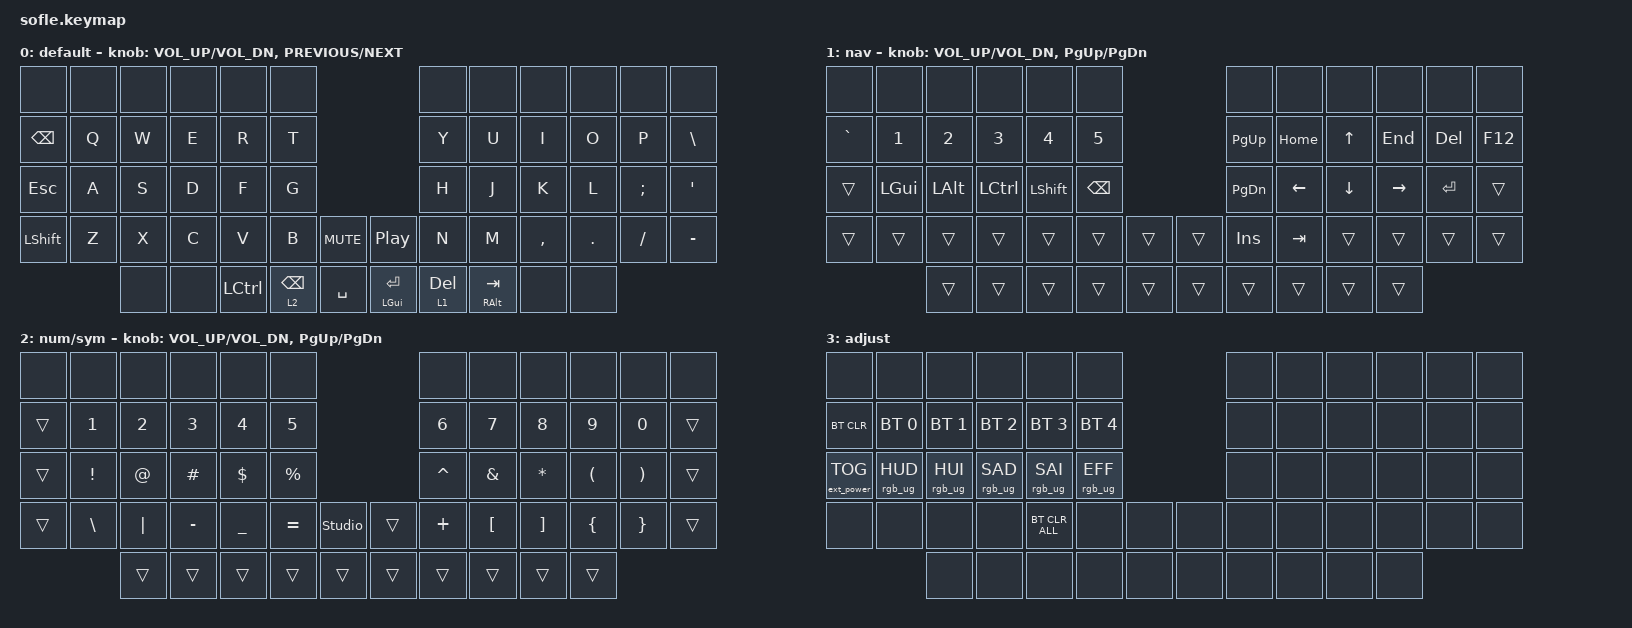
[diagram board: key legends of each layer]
/*
 * Copyright (c) 2020 The ZMK Contributors
 *
 * SPDX-License-Identifier: MIT
 */

#include <behaviors.dtsi>
#include <dt-bindings/zmk/bt.h>
#include <dt-bindings/zmk/ext_power.h>
#include <dt-bindings/zmk/keys.h>
#include <dt-bindings/zmk/rgb.h>

#define BASE 0
#define NAV  1
#define NUM  2
#define ADJ  3

/ {
    behaviors {
        hml: homerow_mods_left {
            compatible = "zmk,behavior-hold-tap";
            #binding-cells = <2>;
            tapping-term-ms = <280>;
            quick-tap-ms = <175>;
            require-prior-idle-ms = <150>;
            flavor = "balanced";
            bindings = <&kp>, <&kp>;

            hold-trigger-key-positions = <6 7 8 9 10 11 18 19 20 21 22 23 30 31 32 33 34 35 44 45 46 47 48 49 55 56 57 58 59>;
            hold-trigger-on-release;
        };

        hmr: homerow_mods_right {
            compatible = "zmk,behavior-hold-tap";
            #binding-cells = <2>;
            tapping-term-ms = <280>;
            quick-tap-ms = <175>;
            require-prior-idle-ms = <150>;
            flavor = "balanced";
            bindings = <&kp>, <&kp>;

            hold-trigger-key-positions = <0 1 2 3 4 5 12 13 14 15 16 17 24 25 26 27 28 29 36 37 38 39 40 41 50 51 52 53 54>;
            hold-trigger-on-release;
        };
    };

    combos { compatible = "zmk,combos"; };

    conditional_layers {
        compatible = "zmk,conditional-layers";

        adjust_layer {
            if-layers = <NAV NUM>;
            then-layer = <ADJ>;
        };
    };

    keymap {
        compatible = "zmk,keymap";

        default_layer {
            display-name = "default";
            bindings = <
&none          &none  &none  &none  &none      &none                                            &none         &none         &none      &none    &none          &none
&kp BACKSPACE  &kp Q  &kp W  &kp E  &kp R      &kp T                                            &kp Y         &kp U         &kp I      &kp O    &kp P          &kp BACKSLASH
&kp ESCAPE     &kp A  &kp S  &kp D  &kp F      &kp G                                            &kp H         &kp J         &kp K      &kp L    &kp SEMICOLON  &kp SQT
&kp LSHFT      &kp Z  &kp X  &kp C  &kp V      &kp B            &kp C_MUTE    &kp C_PLAY_PAUSE  &kp N         &kp M         &kp COMMA  &kp DOT  &kp FSLH       &kp MINUS
                      &none  &none  &kp LCTRL  &lt 2 BACKSPACE  &kp SPACE     &mt LEFT_GUI RET  &lt 1 DELETE  &mt RALT TAB  &none      &none
            >;

            sensor-bindings =
                <&inc_dec_kp C_VOL_UP C_VOL_DN>,
                <&inc_dec_kp C_PREVIOUS C_NEXT>;
        };

        nav_layer {
            display-name = "nav";
            bindings = <
&none      &none     &none     &none      &none      &none                            &none      &none     &none     &none      &none    &none
&kp GRAVE  &kp N1    &kp N2    &kp N3     &kp N4     &kp N5                           &kp PG_UP  &kp HOME  &kp UP    &kp END    &kp DEL  &kp F12
&trans     &kp LGUI  &kp LALT  &kp LCTRL  &kp LSHFT  &kp BACKSPACE                    &kp PG_DN  &kp LEFT  &kp DOWN  &kp RIGHT  &kp RET  &trans
&trans     &trans    &trans    &trans     &trans     &trans         &trans    &trans  &kp INS    &kp TAB   &trans    &trans     &trans   &trans
                     &trans    &trans     &trans     &trans         &trans    &trans  &trans     &trans    &trans    &trans
            >;

            sensor-bindings = <&inc_dec_kp C_VOL_UP C_VOL_DN &inc_dec_kp PG_UP PG_DN>;
        };

        num_layer {
            display-name = "num/sym";
            bindings = <
&none   &none     &none     &none      &none      &none                                &none      &none     &none      &none     &none     &none
&trans  &kp N1    &kp N2    &kp N3     &kp N4     &kp N5                               &kp N6     &kp N7    &kp N8     &kp N9    &kp N0    &trans
&trans  &kp EXCL  &kp AT    &kp HASH   &kp DLLR   &kp PRCNT                            &kp CARET  &kp AMPS  &kp ASTRK  &kp LPAR  &kp RPAR  &trans
&trans  &kp BSLH  &kp PIPE  &kp MINUS  &kp UNDER  &kp EQUAL  &studio_unlock    &trans  &kp PLUS   &kp LBKT  &kp RBKT   &kp LBRC  &kp RBRC  &trans
                  &trans    &trans     &trans     &trans     &trans            &trans  &trans     &trans    &trans     &trans
            >;

            sensor-bindings = <&inc_dec_kp C_VOL_UP C_VOL_DN &inc_dec_kp PG_UP PG_DN>;
        };

        adjust_layer {
            display-name = "adjust";
            bindings = <
&none              &none            &none            &none            &none            &none                            &none  &none  &none  &none  &none  &none
&bt BT_CLR         &bt BT_SEL 0     &bt BT_SEL 1     &bt BT_SEL 2     &bt BT_SEL 3     &bt BT_SEL 4                     &none  &none  &none  &none  &none  &none
&ext_power EP_TOG  &rgb_ug RGB_HUD  &rgb_ug RGB_HUI  &rgb_ug RGB_SAD  &rgb_ug RGB_SAI  &rgb_ug RGB_EFF                  &none  &none  &none  &none  &none  &none
&none              &none            &none            &none            &bt BT_CLR_ALL   &none            &none    &none  &none  &none  &none  &none  &none  &none
                                    &none            &none            &none            &none            &none    &none  &none  &none  &none  &none
            >;
        };
    };
};
